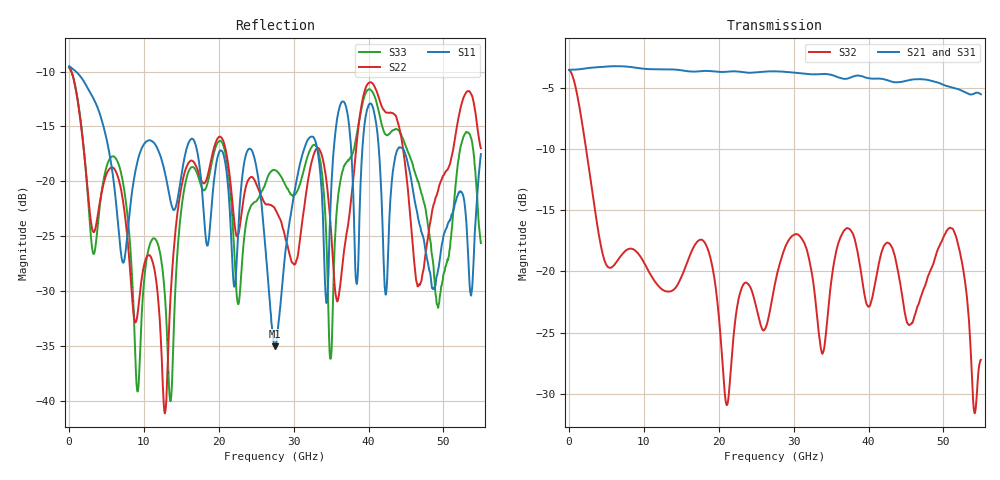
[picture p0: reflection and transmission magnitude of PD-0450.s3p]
! MARKI MICROWAVE INC.
! Email:  info@markimicrowave.com  Phone:  408-778-4200
! Model Number:  PD0450  Date:  05/15
! Filename:		PD-0450.S3P  Version: 1.0
! Description:  3-port S-parameter data for Power Divider PD-0450
! Measured Frequency: 	10 MHz to 55 GHz
! Port Configuration:	PORT 1: COMMON, PORT 2 and Port 3: Output
! S3P File: Measurements: Mag<S11> Ang<S11> Mag<S12> Ang<S12> Mag<S13> Ang<S13>! row 1
!  Mag<S21> Ang<S21> Mag<S22> Ang<S22> Mag<S23> Ang<S23>! row 2
!  Mag<S31> Ang<S31> Mag<S32> Ang<S32> Mag<S33> Ang<S33>! row 3
# Hz S  dB  R 50
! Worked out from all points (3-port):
!   801 points, 10 MHz to 55 GHz, reference 50 ohm
!   strongest paths, dB at 10 MHz, 13.76 GHz, 27.5 GHz, 41.25 GHz, 55 GHz:
!     S21: -3.6, -3.5, -3.7, -4.3, -5.5
!     S31: -3.5, -3.5, -3.8, -4.3, -5.5
!     S32: -3.6, -21.6, -21.0, -19.7, -27.2
!   lowest |S11| = -35.0 dB at 27.5 GHz (marker M1), VSWR 1.04, Z = 49.5 + j1.68 ohm
!   |S11| at or under -10 dB: 931.9 MHz to end of sweep
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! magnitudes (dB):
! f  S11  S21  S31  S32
! 10 MHz  -9.5  -3.6  -3.5  -3.6
! 9.152 GHz  -18.2  -3.4  -3.4  -18.5
! 24.34 GHz  -17.1  -3.8  -3.8  -21.5
! 27.5 GHz  -35.0  -3.7  -3.8  -21.0
! 34.93 GHz  -22.1  -3.9  -4.0  -21.2
! 36.44 GHz  -12.7  -4.3  -4.3  -17.0
! 38.43 GHz  -29.4  -4.0  -4.2  -18.1
! 40.02 GHz  -13.1  -4.2  -4.4  -22.9
! 46.68 GHz  -23.6  -4.3  -4.5  -22.7
! 55 GHz  -17.5  -5.5  -5.5  -27.2
